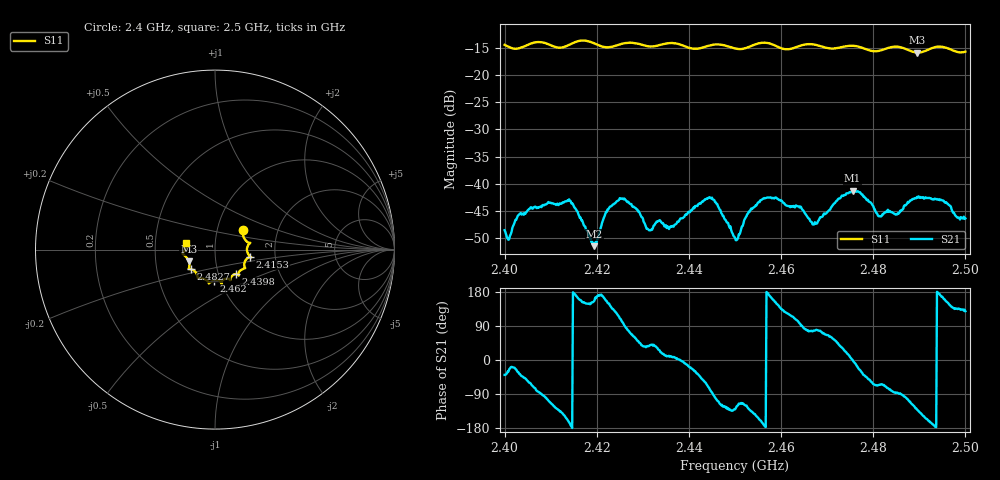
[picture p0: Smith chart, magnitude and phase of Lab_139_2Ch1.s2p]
# Hz S RI R 50
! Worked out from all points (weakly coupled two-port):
!   601 points, 2.4 GHz to 2.5 GHz, reference 50 ohm
!   highest |S21| = -41.28 dB at 2.4755 GHz (marker M1); lowest = -51.4 dB at 2.4195 GHz (marker M2)
!   lowest |S11| = -15.9 dB at 2.4895 GHz (marker M3), VSWR 1.38, Z = 37 - j5 ohm
!   |S11| at or under -10 dB: start of sweep to end of sweep
!   S12 and S22 are empty: the file has one direction only
!   S11 on the Smith chart (normalised r, x): 2.4 GHz: 1.33, +0.30; 2.4153 GHz: 1.48, -0.12; 2.4398 GHz: 1.21, -0.34; 2.462 GHz: 0.93, -0.33; 2.4827 GHz: 0.75, -0.17; 2.5 GHz: 0.72, +0.06
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2.4e9  0.1554 0.107  0.0029 -0.00238  0 0  0 0
2.401e9  0.155 0.0912  0.00283 -0.00129  0 0  0 0
2.406167e9  0.1933 0.0374  0.00207 -0.00557  0 0  0 0
2.415333e9  0.1964 -0.0387  -0.00591 0.000723  0 0  0 0
2.416667e9  0.2024 -0.0429  -0.00421 0.00189  0 0  0 0
2.4195e9  0.1898 -0.0431  -0.00246 0.00105  0 0  0 0
2.422333e9  0.1656 -0.0681  -0.00509 0.0028  0 0  0 0
2.425167e9  0.1652 -0.0973  -0.00229 0.00696  0 0  0 0
2.431167e9  0.1413 -0.1162  0.00309 0.00225  0 0  0 0
2.433333e9  0.1305 -0.1335  0.00402 0.00213  0 0  0 0
2.436167e9  0.1325 -0.145  0.00397 0.00068  0 0  0 0
2.439833e9  0.1157 -0.136  0.00529 -0.0015  0 0  0 0
2.445e9  0.0845 -0.1685  0.000541 -0.00745  0 0  0 0
2.45e9  0.0654 -0.1624  -0.00206 -0.00245  0 0  0 0
2.456e9  0.0383 -0.1936  -0.00706 -0.00168  0 0  0 0
2.462e9  -0.00511 -0.1729  -0.00287 0.00539  0 0  0 0
2.466667e9  -0.0344 -0.1883  0.000999 0.00433  0 0  0 0
2.4755e9  -0.0939 -0.1597  0.00862 8.28e-05  0 0  0 0
2.482667e9  -0.1351 -0.1092  0.00191 -0.00519  0 0  0 0
2.483333e9  -0.1403 -0.1089  0.00137 -0.00536  0 0  0 0
2.4895e9  -0.1458 -0.0659  -0.00494 -0.00576  0 0  0 0
2.5e9  -0.1591 0.0386  -0.00302 0.00375  0 0  0 0
